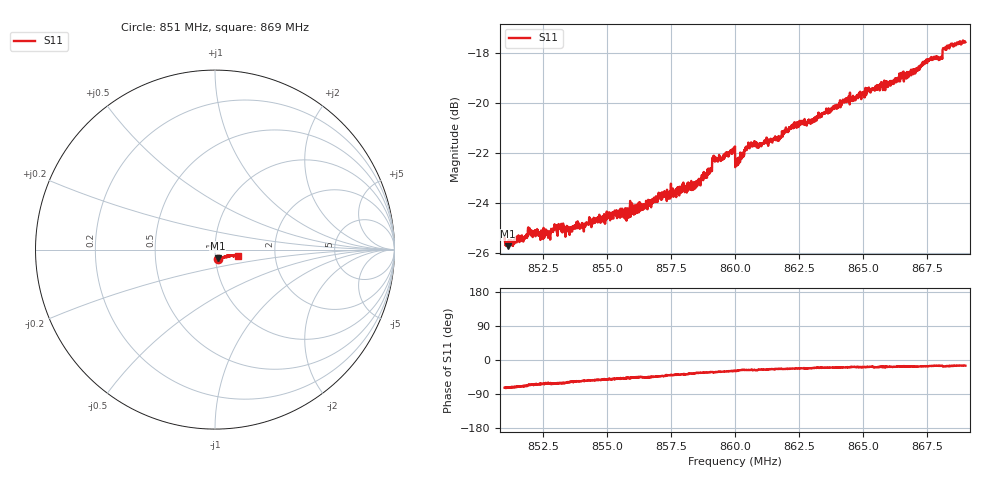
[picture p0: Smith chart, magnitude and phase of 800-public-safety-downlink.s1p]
! Calibrated averaged scanner-service zoom
# Hz S RI R 50
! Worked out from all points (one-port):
!   2001 points, 851 MHz to 869 MHz, reference 50 ohm
!   lowest |S11| = -25.7 dB at 851.13 MHz (marker M1), VSWR 1.11, Z = 51.3 - j5.09 ohm
!   |S11| at or under -10 dB: start of sweep to end of sweep
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8.51e8  0.0157 -0.0514
8.51126e8  0.0152 -0.0495
8.5181e8  0.0198 -0.0504
8.51999e8  0.0224 -0.0502
8.52413e8  0.024 -0.0478
8.5325e8  0.0281 -0.0493
8.53556e8  0.0307 -0.0475
8.555e8  0.0379 -0.0454
8.55788e8  0.0427 -0.0445
8.5775e8  0.0517 -0.0414
8.58443e8  0.0564 -0.0393
8.5901e8  0.0618 -0.0389
8.59199e8  0.0653 -0.0418
8.59496e8  0.0664 -0.0397
8.5991e8  0.0705 -0.0391
8.6e8  0.0722 -0.0389
8.60099e8  0.0674 -0.0351
8.60576e8  0.0734 -0.037
8.60954e8  0.0752 -0.0353
8.61683e8  0.0771 -0.0336
8.6225e8  0.083 -0.035
8.63015e8  0.086 -0.0333
8.645e8  0.0974 -0.0326
8.6675e8  0.1089 -0.0343
8.67614e8  0.1179 -0.0327
8.6801e8  0.119 -0.0328
8.68217e8  0.1223 -0.0371
8.69e8  0.128 -0.0341
